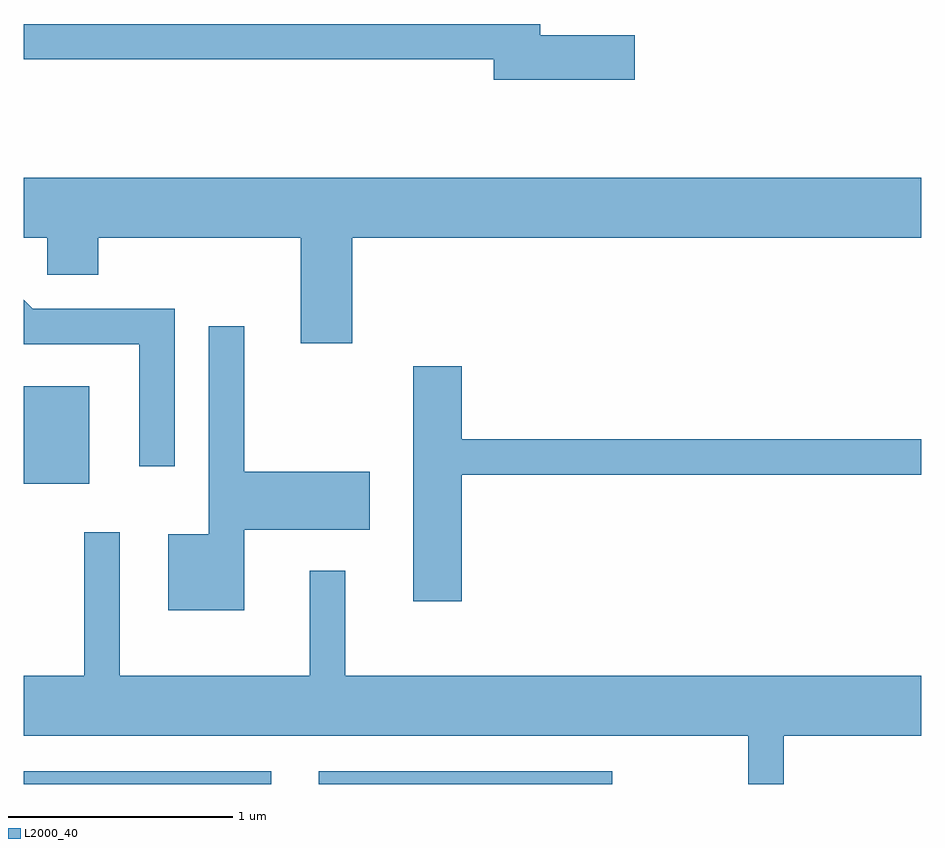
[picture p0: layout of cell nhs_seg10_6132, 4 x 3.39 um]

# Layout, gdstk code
import gdstk
lib = gdstk.Library(unit=1e-6, precision=1e-09)
def R(c, l, rs):  # rectangles x0, y0, x1, y1
    for r in rs: c.add(gdstk.rectangle(r[:2], r[2:], *l))
def P(c, l, *ps):  # polygons
    for p in ps: c.add(gdstk.Polygon(p, *l))
L2000_40 = (2000, 40)

nhs_seg10_6132 = lib.new_cell('nhs_seg10_6132')
R(nhs_seg10_6132, L2000_40, [(365.611,2182.522,366.714,2182.579), (366.926,2182.522,368.233,2182.579), (365.611,2183.861,365.904,2184.294)])
P(nhs_seg10_6132, L2000_40, [(368.334,2185.859),(367.914,2185.859),(367.914,2185.909),(365.611,2185.909),(365.611,2185.751),(367.706,2185.751),(367.706,2185.661),(368.334,2185.661)],
  [(367.074,2184.956),(369.611,2184.956),(369.611,2185.224),(365.611,2185.224),(365.611,2184.956),(365.716,2184.956),(365.716,2184.791),(365.944,2184.791),(365.944,2184.956),(366.846,2184.956),(366.846,2184.486),(367.074,2184.486)],
  [(366.284,2184.639),(365.652,2184.639),(365.611,2184.68),(365.611,2184.481),(366.126,2184.481),(366.126,2183.938),(366.284,2183.938)],
  [(366.594,2183.656),(367.154,2183.656),(367.154,2183.914),(366.594,2183.914),(366.594,2184.563),(366.436,2184.563),(366.436,2183.634),(366.256,2183.634),(366.256,2183.296),(366.594,2183.296)],
  [(367.564,2183.901),(369.611,2183.901),(369.611,2184.059),(367.564,2184.059),(367.564,2184.384),(367.346,2184.384),(367.346,2183.336),(367.564,2183.336)],
  [(368.999,2182.736),(369.611,2182.736),(369.611,2183.004),(367.044,2183.004),(367.044,2183.473),(366.886,2183.473),(366.886,2183.004),(366.039,2183.004),(366.039,2183.643),(365.881,2183.643),(365.881,2183.004),(365.611,2183.004),(365.611,2182.736),(368.841,2182.736),(368.841,2182.522),(368.999,2182.522)])

lib.write_gds('nhs_seg10_6132.gds')
